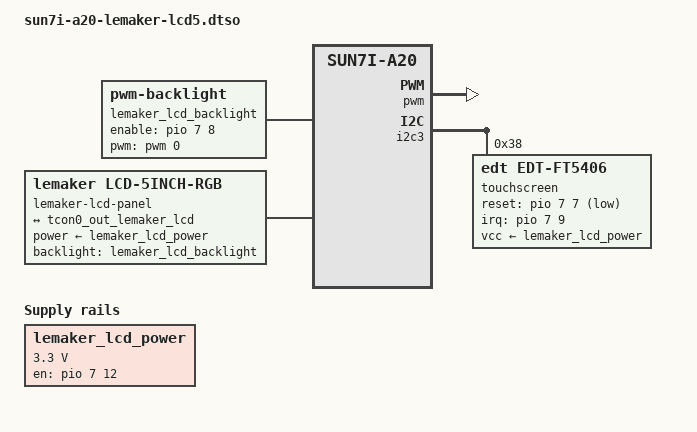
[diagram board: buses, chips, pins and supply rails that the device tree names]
/dts-v1/;
/plugin/;

/*
 * LeMaker 5" RGB LCD (800x480) with FT5x06 touch on the LCD connector
 * of the LeMaker Banana Pro. Parameters taken from the vendor fex file
 * (banana_pro_5lcd.fex).
 *
 * The fex file uses a 30 MHz pixel clock. 29.7 MHz (297 MHz / 10) is used
 * here, so the LCD does not flicker with HDMI connected: LCD (TCON0) and
 * HDMI share PLL3 and HDMI sets it to 297 MHz in 720p/1080p. About 61 Hz.
 * HDMI must run at 1080p or 720p, e.g.
 * extraargs=video=HDMI-A-1:1920x1080@60 in armbianEnv.txt.
 */

/ {
	compatible = "allwinner,sun7i-a20";

	fragment@0 {
		target-path = "/";
		__overlay__ {
			/* Panel power, PH12 */
			lemaker_lcd_power: lemaker-lcd-power {
				compatible = "regulator-fixed";
				regulator-name = "lemaker-lcd-power";
				regulator-min-microvolt = <3300000>;
				regulator-max-microvolt = <3300000>;
				gpio = <&pio 7 12 0>; /* PH12, active high */
				enable-active-high;
			};

			/* Backlight: PWM0 on PB2, enable on PH8 */
			lemaker_lcd_backlight: lemaker-lcd-backlight {
				compatible = "pwm-backlight";
				pwms = <&pwm 0 50000 0>;
				brightness-levels = <0 255>;
				num-interpolated-steps = <255>;
				default-brightness-level = <200>;
				enable-gpios = <&pio 7 8 0>; /* PH8, active high */
			};

			lemaker-lcd-panel {
				compatible = "lemaker,lcd-5inch-rgb", "panel-dpi";
				width-mm = <108>;
				height-mm = <65>;
				power-supply = <&lemaker_lcd_power>;
				backlight = <&lemaker_lcd_backlight>;

				panel-timing {
					clock-frequency = <29700000>; /* 297 MHz / 10 */
					hactive = <800>;
					vactive = <480>;
					hfront-porch = <40>;
					hback-porch = <40>;
					hsync-len = <48>;
					vfront-porch = <13>;
					vback-porch = <29>;
					vsync-len = <3>;
				};

				port {
					lemaker_lcd_panel_in: endpoint {
						remote-endpoint = <&tcon0_out_lemaker_lcd>;
					};
				};
			};
		};
	};

	/* sun7i-a20.dtsi has no 24-bit RGB pin group for TCON0 */
	fragment@1 {
		target = <&pio>;
		__overlay__ {
			lemaker_lcd_rgb888_pins: lemaker-lcd-rgb888-pins {
				pins = "PD0", "PD1", "PD2", "PD3", "PD4", "PD5",
				       "PD6", "PD7", "PD8", "PD9", "PD10", "PD11",
				       "PD12", "PD13", "PD14", "PD15", "PD16",
				       "PD17", "PD18", "PD19", "PD20", "PD21",
				       "PD22", "PD23", "PD24", "PD25", "PD26",
				       "PD27";
				function = "lcd0";
			};
		};
	};

	fragment@2 {
		target = <&tcon0>;
		__overlay__ {
			pinctrl-names = "default";
			pinctrl-0 = <&lemaker_lcd_rgb888_pins>;
		};
	};

	/* endpoint@1 of tcon0_out is already used by HDMI */
	fragment@3 {
		target = <&tcon0_out>;
		__overlay__ {
			#address-cells = <1>;
			#size-cells = <0>;

			tcon0_out_lemaker_lcd: endpoint@0 {
				reg = <0>;
				remote-endpoint = <&lemaker_lcd_panel_in>;
			};
		};
	};

	fragment@4 {
		target = <&pwm>;
		__overlay__ {
			pinctrl-names = "default";
			pinctrl-0 = <&pwm0_pin>;
			status = "okay";
		};
	};

	/* Touch: FT5x06 on I2C3 (PI0/PI1), IRQ on PH9, reset on PH7 */
	fragment@5 {
		target = <&i2c3>;
		__overlay__ {
			pinctrl-names = "default";
			pinctrl-0 = <&i2c3_pins>;
			#address-cells = <1>;
			#size-cells = <0>;
			status = "okay";

			touchscreen@38 {
				compatible = "edt,edt-ft5406";
				reg = <0x38>;
				/*
				 * The controller is powered from the panel line PH12. Without this
				 * the panel driver switches PH12 off on DPMS off and touch cannot
				 * wake the screen.
				 */
				vcc-supply = <&lemaker_lcd_power>;
				interrupt-parent = <&pio>;
				interrupts = <7 9 2>; /* PH9, IRQ_TYPE_EDGE_FALLING */
				/*
				 * PH7 is the controller reset (ctp_wakeup in fex).
				 * As reset-gpios the driver waits 300 ms after
				 * reset, as wake-gpios only 5 ms, too short.
				 */
				reset-gpios = <&pio 7 7 1>; /* PH7, active low */
				touchscreen-size-x = <800>;
				touchscreen-size-y = <480>;
			};
		};
	};
};
